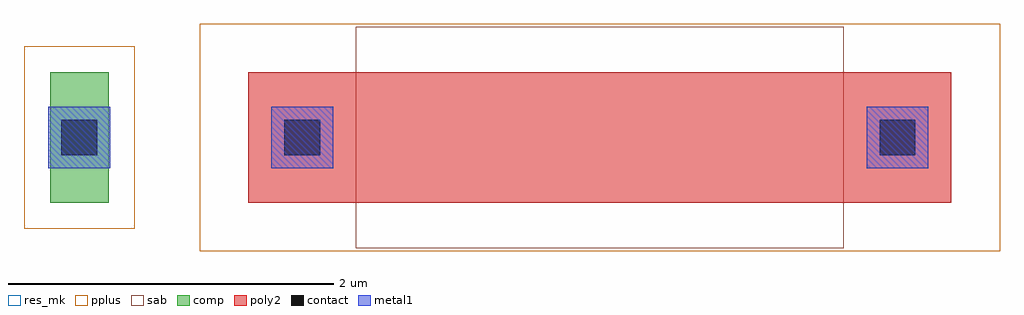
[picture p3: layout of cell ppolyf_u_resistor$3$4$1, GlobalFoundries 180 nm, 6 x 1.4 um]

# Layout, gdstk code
import gdstk
lib = gdstk.Library(unit=1e-6, precision=5e-09)
def R(c, l, rs):  # rectangles x0, y0, x1, y1
    for r in rs: c.add(gdstk.rectangle(r[:2], r[2:], *l))
comp = (22, 0)
poly2 = (30, 0)
pplus = (31, 0)
contact = (33, 0)
metal1 = (34, 0)
sab = (49, 0)
res_mk = (110, 5)

ppolyf_u_resistor_3_4_1 = lib.new_cell('ppolyf_u_resistor$3$4$1')
R(ppolyf_u_resistor_3_4_1, comp, [(-1.88,0,-1.52,0.8)])
R(ppolyf_u_resistor_3_4_1, poly2, [(-0.66,0,3.66,0.8)])
R(ppolyf_u_resistor_3_4_1, pplus, [(-0.96,-0.3,3.96,1.1), (-2.04,-0.16,-1.36,0.96)])
R(ppolyf_u_resistor_3_4_1, contact, [(-1.81,0.29,-1.59,0.51), (-0.44,0.29,-0.22,0.51), (3.22,0.29,3.44,0.51)])
R(ppolyf_u_resistor_3_4_1, metal1, [(-1.89,0.21,-1.51,0.59), (-0.52,0.21,-0.14,0.59), (3.14,0.21,3.52,0.59)])
R(ppolyf_u_resistor_3_4_1, sab, [(0,-0.28,3,1.08)])
R(ppolyf_u_resistor_3_4_1, res_mk, [(0,0,3,0.8)])

lib.write_gds('ppolyf_u_resistor_3_4_1.gds')
